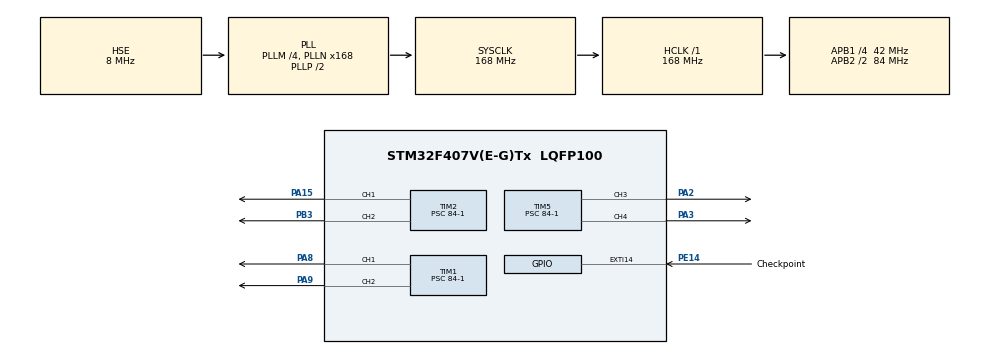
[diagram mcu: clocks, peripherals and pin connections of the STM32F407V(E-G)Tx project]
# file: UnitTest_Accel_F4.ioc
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FREERTOS.Tasks01=AccelTask,0,128,StartAccelTask,Default,NULL,Dynamic,NULL,NULL
FREERTOS.configUSE_NEWLIB_REENTRANT=1
Mcu.Family=STM32F4
Mcu.Name=STM32F407V(E-G)Tx
Mcu.Package=LQFP100
NVIC.PriorityGroup=NVIC_PRIORITYGROUP_4
NVIC.TIM8_TRG_COM_TIM14_IRQn=true\:15\:0\:false\:false\:true\:false\:false\:true\:true
NVIC.TimeBase=TIM8_TRG_COM_TIM14_IRQn
NVIC.TimeBaseIP=TIM14
PA13.Mode=Serial_Wire
PA13.Signal=SYS_JTMS-SWDIO
PA14.Mode=Serial_Wire
PA14.Signal=SYS_JTCK-SWCLK
PA15.Signal=S_TIM2_CH1_ETR
PA2.Signal=S_TIM5_CH3
PA3.Signal=S_TIM5_CH4
PA8.Signal=S_TIM1_CH1
PA9.Signal=S_TIM1_CH2
PB3.Signal=S_TIM2_CH2
PE14.GPIO_Label=Checkpoint
PE14.GPIO_PuPd=GPIO_PULLUP
PE14.Signal=GPXTI14
PH0-OSC_IN.Mode=HSE-External-Oscillator
PH0-OSC_IN.Signal=RCC_OSC_IN
PH1-OSC_OUT.Mode=HSE-External-Oscillator
PH1-OSC_OUT.Signal=RCC_OSC_OUT
ProjectManager.HeapSize=0x200
ProjectManager.StackSize=0x400
ProjectManager.TargetToolchain=STM32CubeIDE
RCC.48MHZClocksFreq_Value=84000000
RCC.AHBFreq_Value=168000000
RCC.APB1CLKDivider=RCC_HCLK_DIV4
RCC.APB1Freq_Value=42000000
RCC.APB1TimFreq_Value=84000000
RCC.APB2CLKDivider=RCC_HCLK_DIV2
RCC.APB2Freq_Value=84000000
RCC.APB2TimFreq_Value=168000000
RCC.CortexFreq_Value=168000000
RCC.HCLKFreq_Value=168000000
RCC.HSE_VALUE=8000000
RCC.HSI_VALUE=16000000
RCC.LSE_VALUE=32768
RCC.PLLM=4
RCC.PLLN=168
RCC.PLLSourceVirtual=RCC_PLLSOURCE_HSE
RCC.SYSCLKFreq_VALUE=168000000
RCC.SYSCLKSource=RCC_SYSCLKSOURCE_PLLCLK
RCC.VCOOutputFreq_Value=336000000
SH.S_TIM1_CH1.0=TIM1_CH1,PWM Generation1 CH1
SH.S_TIM1_CH2.0=TIM1_CH2,PWM Generation2 CH2
SH.S_TIM2_CH1_ETR.0=TIM2_CH1,PWM Generation1 CH1
SH.S_TIM2_CH2.0=TIM2_CH2,PWM Generation2 CH2
SH.S_TIM5_CH3.0=TIM5_CH3,PWM Generation3 CH3
SH.S_TIM5_CH4.0=TIM5_CH4,PWM Generation4 CH4
TIM1.Channel-PWM\ Generation1\ CH1=TIM_CHANNEL_1
TIM1.Channel-PWM\ Generation2\ CH2=TIM_CHANNEL_2
TIM1.Period=1000-1
TIM1.Prescaler=84-1
TIM2.Channel-PWM\ Generation1\ CH1=TIM_CHANNEL_1
TIM2.Channel-PWM\ Generation2\ CH2=TIM_CHANNEL_2
TIM2.Period=1000-1
TIM2.Prescaler=84-1
TIM5.Channel-PWM\ Generation3\ CH3=TIM_CHANNEL_3
TIM5.Channel-PWM\ Generation4\ CH4=TIM_CHANNEL_4
TIM5.Period=1000-1
TIM5.Prescaler=84-1
VP_FREERTOS_VS_CMSIS_V1.Mode=CMSIS_V1
VP_SYS_VS_tim14.Mode=TIM14
VP_TIM1_VS_ClockSourceINT.Mode=Internal
VP_TIM2_VS_ClockSourceINT.Mode=Internal
VP_TIM5_VS_ClockSourceINT.Mode=Internal
board=custom

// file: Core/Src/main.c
/* USER CODE BEGIN Header */
/**
  ******************************************************************************
  * @file           : main.c
  * @brief          : Main program body
  ******************************************************************************
  * @attention
  *
  * Copyright (c) 2024 STMicroelectronics.
  * All rights reserved.
  *
  * This software is licensed under terms that can be found in the LICENSE file
  * in the root directory of this software component.
  * If no LICENSE file comes with this software, it is provided AS-IS.
  *
  ******************************************************************************
  */
/* USER CODE END Header */
#include "main.h"
#include "cmsis_os.h"

/* USER CODE BEGIN Includes */
#include "Accel.h"
#include "DriveMotor.h"
/* USER CODE END Includes */

TIM_HandleTypeDef htim1;
TIM_HandleTypeDef htim2;
TIM_HandleTypeDef htim5;

osThreadId AccelTaskHandle;
/* USER CODE BEGIN PV */
uint8_t CheckPoint_Status;
int16_t Target_PWM;
uint16_t Target_Time;

MotorDrive DC;
Accel_Param Accel_DC;
/* USER CODE END PV */

void SystemClock_Config(void);
static void MX_GPIO_Init(void);
static void MX_TIM5_Init(void);
static void MX_TIM1_Init(void);
static void MX_TIM2_Init(void);
void StartAccelTask(void const * argument);

int main(void)
{

  /* MCU Configuration--------------------------------------------------------*/

  /* Reset of all peripherals, Initializes the Flash interface and the Systick. */
  HAL_Init();

  /* Configure the system clock */
  SystemClock_Config();

  /* Initialize all configured peripherals */
  MX_GPIO_Init();
  MX_TIM5_Init();
  MX_TIM1_Init();
  MX_TIM2_Init();
  /* USER CODE BEGIN 2 */
  HAL_TIM_PWM_Start(&htim1, TIM_CHANNEL_1);
  HAL_TIM_PWM_Start(&htim1, TIM_CHANNEL_2);
  HAL_TIM_PWM_Start(&htim2, TIM_CHANNEL_1);
  HAL_TIM_PWM_Start(&htim2, TIM_CHANNEL_2);
  HAL_TIM_PWM_Start(&htim5, TIM_CHANNEL_3);
  HAL_TIM_PWM_Start(&htim5, TIM_CHANNEL_4);

  /* USER CODE END 2 */

  /* Create the thread(s) */
  /* definition and creation of AccelTask */
  osThreadDef(AccelTask, StartAccelTask, osPriorityNormal, 0, 128);
  AccelTaskHandle = osThreadCreate(osThread(AccelTask), NULL);

  /* Start scheduler */
  osKernelStart();

  /* We should never get here as control is now taken by the scheduler */
  /* Infinite loop */
  while (1)
  {

    /* USER CODE BEGIN 3 */
//	Accel_Cal(&Accel_DC, Target_PWM, Target_Time);
//	DC_Drive_BTS(&DC, &htim5, 1000, Accel_DC.vel_controller, TIM_CHANNEL_3, TIM_CHANNEL_4);
//	DC_Drive_BTS(&DC, &htim5, 1000, Target_PWM, TIM_CHANNEL_3, TIM_CHANNEL_4);
  }
  /* USER CODE END 3 */
}

void SystemClock_Config(void)
{
  RCC_OscInitTypeDef RCC_OscInitStruct = {0};
  RCC_ClkInitTypeDef RCC_ClkInitStruct = {0};

  /** Configure the main internal regulator output voltage
  */
  __HAL_RCC_PWR_CLK_ENABLE();
  __HAL_PWR_VOLTAGESCALING_CONFIG(PWR_REGULATOR_VOLTAGE_SCALE1);

  /** Initializes the RCC Oscillators according to the specified parameters
  * in the RCC_OscInitTypeDef structure.
  */
  RCC_OscInitStruct.OscillatorType = RCC_OSCILLATORTYPE_HSE;
  RCC_OscInitStruct.HSEState = RCC_HSE_ON;
  RCC_OscInitStruct.PLL.PLLState = RCC_PLL_ON;
  RCC_OscInitStruct.PLL.PLLSource = RCC_PLLSOURCE_HSE;
  RCC_OscInitStruct.PLL.PLLM = 4;
  RCC_OscInitStruct.PLL.PLLN = 168;
  RCC_OscInitStruct.PLL.PLLP = RCC_PLLP_DIV2;
  RCC_OscInitStruct.PLL.PLLQ = 4;
  if (HAL_RCC_OscConfig(&RCC_OscInitStruct) != HAL_OK)
  {
    Error_Handler();
  }

  /** Initializes the CPU, AHB and APB buses clocks
  */
  RCC_ClkInitStruct.ClockType = RCC_CLOCKTYPE_HCLK|RCC_CLOCKTYPE_SYSCLK
                              |RCC_CLOCKTYPE_PCLK1|RCC_CLOCKTYPE_PCLK2;
  RCC_ClkInitStruct.SYSCLKSource = RCC_SYSCLKSOURCE_PLLCLK;
  RCC_ClkInitStruct.AHBCLKDivider = RCC_SYSCLK_DIV1;
  RCC_ClkInitStruct.APB1CLKDivider = RCC_HCLK_DIV4;
  RCC_ClkInitStruct.APB2CLKDivider = RCC_HCLK_DIV2;

  if (HAL_RCC_ClockConfig(&RCC_ClkInitStruct, FLASH_LATENCY_5) != HAL_OK)
  {
    Error_Handler();
  }
}

static void MX_TIM1_Init(void)
{

  TIM_ClockConfigTypeDef sClockSourceConfig = {0};
  TIM_MasterConfigTypeDef sMasterConfig = {0};
  TIM_OC_InitTypeDef sConfigOC = {0};
  TIM_BreakDeadTimeConfigTypeDef sBreakDeadTimeConfig = {0};

  htim1.Instance = TIM1;
  htim1.Init.Prescaler = 84-1;
  htim1.Init.CounterMode = TIM_COUNTERMODE_UP;
  htim1.Init.Period = 1000-1;
  htim1.Init.ClockDivision = TIM_CLOCKDIVISION_DIV1;
  htim1.Init.RepetitionCounter = 0;
  htim1.Init.AutoReloadPreload = TIM_AUTORELOAD_PRELOAD_DISABLE;
  if (HAL_TIM_Base_Init(&htim1) != HAL_OK)
  {
    Error_Handler();
  }
  sClockSourceConfig.ClockSource = TIM_CLOCKSOURCE_INTERNAL;
  if (HAL_TIM_ConfigClockSource(&htim1, &sClockSourceConfig) != HAL_OK)
  {
    Error_Handler();
  }
  if (HAL_TIM_PWM_Init(&htim1) != HAL_OK)
  {
    Error_Handler();
  }
  sMasterConfig.MasterOutputTrigger = TIM_TRGO_RESET;
  sMasterConfig.MasterSlaveMode = TIM_MASTERSLAVEMODE_DISABLE;
  if (HAL_TIMEx_MasterConfigSynchronization(&htim1, &sMasterConfig) != HAL_OK)
  {
    Error_Handler();
  }
  sConfigOC.OCMode = TIM_OCMODE_PWM1;
  sConfigOC.Pulse = 0;
  sConfigOC.OCPolarity = TIM_OCPOLARITY_HIGH;
  sConfigOC.OCNPolarity = TIM_OCNPOLARITY_HIGH;
  sConfigOC.OCFastMode = TIM_OCFAST_DISABLE;
  sConfigOC.OCIdleState = TIM_OCIDLESTATE_RESET;
  sConfigOC.OCNIdleState = TIM_OCNIDLESTATE_RESET;
  if (HAL_TIM_PWM_ConfigChannel(&htim1, &sConfigOC, TIM_CHANNEL_1) != HAL_OK)
  {
    Error_Handler();
  }
  if (HAL_TIM_PWM_ConfigChannel(&htim1, &sConfigOC, TIM_CHANNEL_2) != HAL_OK)
  {
    Error_Handler();
  }
  sBreakDeadTimeConfig.OffStateRunMode = TIM_OSSR_DISABLE;
  sBreakDeadTimeConfig.OffStateIDLEMode = TIM_OSSI_DISABLE;
  sBreakDeadTimeConfig.LockLevel = TIM_LOCKLEVEL_OFF;
  sBreakDeadTimeConfig.DeadTime = 0;
  sBreakDeadTimeConfig.BreakState = TIM_BREAK_DISABLE;
  sBreakDeadTimeConfig.BreakPolarity = TIM_BREAKPOLARITY_HIGH;
  sBreakDeadTimeConfig.AutomaticOutput = TIM_AUTOMATICOUTPUT_DISABLE;
  if (HAL_TIMEx_ConfigBreakDeadTime(&htim1, &sBreakDeadTimeConfig) != HAL_OK)
  {
    Error_Handler();
  }
  HAL_TIM_MspPostInit(&htim1);

}

static void MX_TIM2_Init(void)
{

  TIM_ClockConfigTypeDef sClockSourceConfig = {0};
  TIM_MasterConfigTypeDef sMasterConfig = {0};
  TIM_OC_InitTypeDef sConfigOC = {0};

  htim2.Instance = TIM2;
  htim2.Init.Prescaler = 84-1;
  htim2.Init.CounterMode = TIM_COUNTERMODE_UP;
  htim2.Init.Period = 1000-1;
  htim2.Init.ClockDivision = TIM_CLOCKDIVISION_DIV1;
  htim2.Init.AutoReloadPreload = TIM_AUTORELOAD_PRELOAD_DISABLE;
  if (HAL_TIM_Base_Init(&htim2) != HAL_OK)
  {
    Error_Handler();
  }
  sClockSourceConfig.ClockSource = TIM_CLOCKSOURCE_INTERNAL;
  if (HAL_TIM_ConfigClockSource(&htim2, &sClockSourceConfig) != HAL_OK)
  {
    Error_Handler();
  }
  if (HAL_TIM_PWM_Init(&htim2) != HAL_OK)
  {
    Error_Handler();
  }
  sMasterConfig.MasterOutputTrigger = TIM_TRGO_RESET;
  sMasterConfig.MasterSlaveMode = TIM_MASTERSLAVEMODE_DISABLE;
  if (HAL_TIMEx_MasterConfigSynchronization(&htim2, &sMasterConfig) != HAL_OK)
  {
    Error_Handler();
  }
  sConfigOC.OCMode = TIM_OCMODE_PWM1;
  sConfigOC.Pulse = 0;
  sConfigOC.OCPolarity = TIM_OCPOLARITY_HIGH;
  sConfigOC.OCFastMode = TIM_OCFAST_DISABLE;
  if (HAL_TIM_PWM_ConfigChannel(&htim2, &sConfigOC, TIM_CHANNEL_1) != HAL_OK)
  {
    Error_Handler();
  }
  if (HAL_TIM_PWM_ConfigChannel(&htim2, &sConfigOC, TIM_CHANNEL_2) != HAL_OK)
  {
    Error_Handler();
  }
  HAL_TIM_MspPostInit(&htim2);

}

static void MX_TIM5_Init(void)
{

  TIM_ClockConfigTypeDef sClockSourceConfig = {0};
  TIM_MasterConfigTypeDef sMasterConfig = {0};
  TIM_OC_InitTypeDef sConfigOC = {0};

  htim5.Instance = TIM5;
  htim5.Init.Prescaler = 84-1;
  htim5.Init.CounterMode = TIM_COUNTERMODE_UP;
  htim5.Init.Period = 1000-1;
  htim5.Init.ClockDivision = TIM_CLOCKDIVISION_DIV1;
  htim5.Init.AutoReloadPreload = TIM_AUTORELOAD_PRELOAD_DISABLE;
  if (HAL_TIM_Base_Init(&htim5) != HAL_OK)
  {
    Error_Handler();
  }
  sClockSourceConfig.ClockSource = TIM_CLOCKSOURCE_INTERNAL;
  if (HAL_TIM_ConfigClockSource(&htim5, &sClockSourceConfig) != HAL_OK)
  {
    Error_Handler();
  }
  if (HAL_TIM_PWM_Init(&htim5) != HAL_OK)
  {
    Error_Handler();
  }
  sMasterConfig.MasterOutputTrigger = TIM_TRGO_RESET;
  sMasterConfig.MasterSlaveMode = TIM_MASTERSLAVEMODE_DISABLE;
  if (HAL_TIMEx_MasterConfigSynchronization(&htim5, &sMasterConfig) != HAL_OK)
  {
    Error_Handler();
  }
  sConfigOC.OCMode = TIM_OCMODE_PWM1;
  sConfigOC.Pulse = 0;
  sConfigOC.OCPolarity = TIM_OCPOLARITY_HIGH;
  sConfigOC.OCFastMode = TIM_OCFAST_DISABLE;
  if (HAL_TIM_PWM_ConfigChannel(&htim5, &sConfigOC, TIM_CHANNEL_3) != HAL_OK)
  {
    Error_Handler();
  }
  if (HAL_TIM_PWM_ConfigChannel(&htim5, &sConfigOC, TIM_CHANNEL_4) != HAL_OK)
  {
    Error_Handler();
  }
  HAL_TIM_MspPostInit(&htim5);

}

static void MX_GPIO_Init(void)
{
  GPIO_InitTypeDef GPIO_InitStruct = {0};

  /* GPIO Ports Clock Enable */
  __HAL_RCC_GPIOH_CLK_ENABLE();
  __HAL_RCC_GPIOA_CLK_ENABLE();
  __HAL_RCC_GPIOE_CLK_ENABLE();
  __HAL_RCC_GPIOB_CLK_ENABLE();

  /*Configure GPIO pin : Checkpoint_Pin */
  GPIO_InitStruct.Pin = Checkpoint_Pin;
  GPIO_InitStruct.Mode = GPIO_MODE_IT_RISING;
  GPIO_InitStruct.Pull = GPIO_PULLUP;
  HAL_GPIO_Init(Checkpoint_GPIO_Port, &GPIO_InitStruct);

}

void StartAccelTask(void const * argument)
{
  /* USER CODE BEGIN 5 */
  /* Infinite loop */
  for(;;)
  {
	Accel_Cal(&Accel_DC, Target_PWM, Target_Time);
//	DC_Drive_BTS(&DC, &htim5, 1000, Accel_DC.vel_controller, TIM_CHANNEL_3, TIM_CHANNEL_4);
	DC_Drive_BTS(&DC, &htim1, 1000, Accel_DC.vel_controller, TIM_CHANNEL_1, TIM_CHANNEL_2);
//	DC_Drive_BTS(&DC, &htim2, 1000, Accel_DC.vel_controller, TIM_CHANNEL_1, TIM_CHANNEL_2);
    osDelay(10);
  }
  /* USER CODE END 5 */
}

void HAL_TIM_PeriodElapsedCallback(TIM_HandleTypeDef *htim)
{
  if (htim->Instance == TIM14) {
    HAL_IncTick();
  }
}

void Error_Handler(void)
{
  __disable_irq();
  while (1)
  {
  }
}
